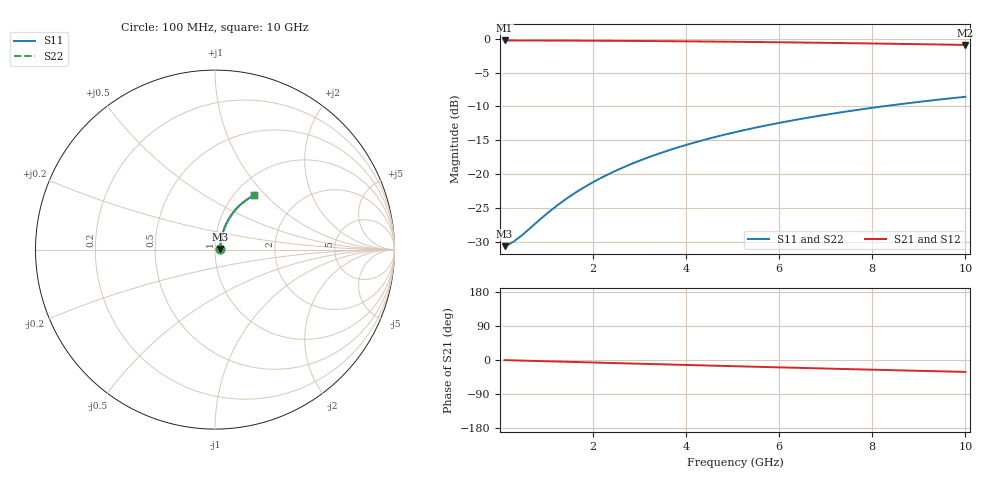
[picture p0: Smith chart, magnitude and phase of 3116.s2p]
# Hz S RI R 50.00
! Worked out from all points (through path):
!   100 points, 100 MHz to 10 GHz, reference 50 ohm
!   highest |S21| = -0.26 dB at 100 MHz (marker M1); lowest = -0.9 dB at 10 GHz (marker M2)
!   group delay of S21, straight-line fit = 8.76 ps
!   lowest |S11| = -30.7 dB at 100 MHz (marker M3), VSWR 1.06, Z = 53 + j0.418 ohm
!   |S11| at or under -10 dB: start of sweep to 8.227 GHz
!   |S22| runs from -30.7 to -8.6 dB; largest |S21 - S12| = 0
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1e8  0.0291 0.00394  0.9709 -0.0056  0.9709 -0.0056  0.0291 0.00394
2e8  0.0293 0.00788  0.9707 -0.0112  0.9707 -0.0112  0.0293 0.00788
3e8  0.0296 0.0118  0.9704 -0.0168  0.9704 -0.0168  0.0296 0.0118
4e8  0.0298 0.0157  0.9701 -0.0224  0.9701 -0.0224  0.0298 0.0157
9e8  0.0317 0.0353  0.9682 -0.0502  0.9682 -0.0502  0.0317 0.0353
1.2e9  0.0333 0.047  0.9665 -0.0668  0.9665 -0.0668  0.0333 0.047
1.5e9  0.0352 0.0586  0.9644 -0.0834  0.9644 -0.0834  0.0352 0.0586
1.8e9  0.0376 0.0701  0.9619 -0.0999  0.9619 -0.0999  0.0376 0.0701
2.1e9  0.0403 0.0815  0.9591 -0.1163  0.9591 -0.1163  0.0403 0.0815
2.5e9  0.0445 0.0965  0.9546 -0.1379  0.9546 -0.1379  0.0445 0.0965
2.9e9  0.0494 0.1113  0.9494 -0.1593  0.9494 -0.1593  0.0494 0.1113
3.4e9  0.0563 0.1293  0.942 -0.1856  0.942 -0.1856  0.0563 0.1293
3.8e9  0.0626 0.1434  0.9353 -0.2063  0.9353 -0.2063  0.0626 0.1434
4.2e9  0.0695 0.1571  0.928 -0.2267  0.928 -0.2267  0.0695 0.1571
4.6e9  0.0769 0.1704  0.9201 -0.2466  0.9201 -0.2466  0.0769 0.1704
5.1e9  0.087 0.1864  0.9093 -0.271  0.9093 -0.271  0.087 0.1864
5.9e9  0.1047 0.2106  0.8904 -0.3086  0.8904 -0.3086  0.1047 0.2106
6.7e9  0.1241 0.2329  0.8695 -0.3442  0.8695 -0.3442  0.1241 0.2329
7.5e9  0.1451 0.2531  0.8468 -0.3779  0.8468 -0.3779  0.1451 0.2531
8.4e9  0.1703 0.2732  0.8196 -0.4132  0.8196 -0.4132  0.1703 0.2732
9.2e9  0.1937 0.2888  0.7942 -0.4423  0.7942 -0.4423  0.1937 0.2888
1e10  0.2178 0.3021  0.7678 -0.4692  0.7678 -0.4692  0.2178 0.3021
